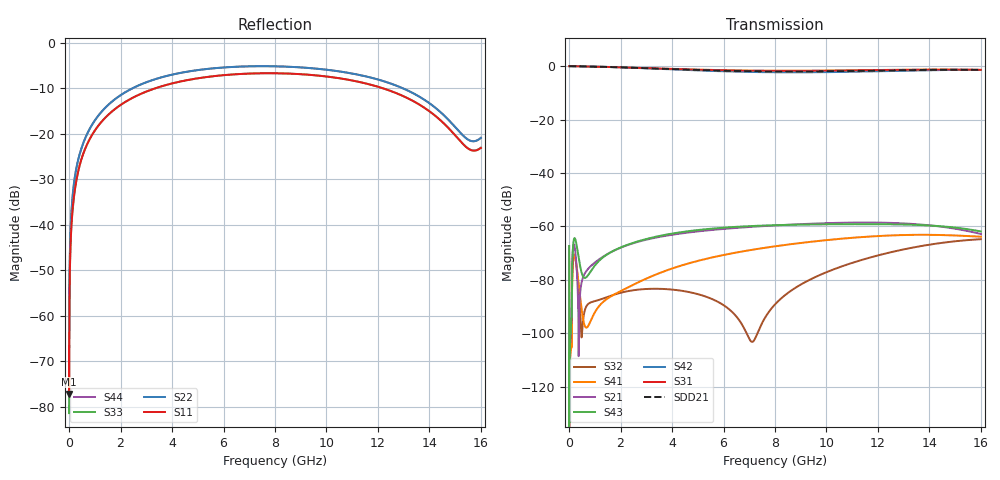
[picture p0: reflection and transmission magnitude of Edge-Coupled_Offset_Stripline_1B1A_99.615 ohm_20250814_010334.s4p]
! Touchstone file exported from HFSS 2025.1.0
!  File:  E:/00_Asenjo/00_Project/Ketupa/simulation/Ansys_HFSS_from_si9000/HFSS_Projects/Edge-Coupled_Offset_Stripline_1B1A_99.615 ohm_20250814_010334.aedt
!  Generated:  01:05:41 AM Aug 14, 2025
!  Design:  Edge-Coupled_Offset_Stripline_1B1A_(1)
!  Project:  Edge-Coupled_Offset_Stripline_1B1A_99.615 ohm_20250814_010334
!  Setup:  Setup1
!  Solution:  Sweep
! Variables:
!  $Er1 = 3.6
!  $Er2 = 3.6
!  H1 = 200um
!  H2 = 200um
!  S1 = 190um
!  T1 = 15um
!  W1 = 160um
!  W2 = 150um
!  subH = 0.4mm
!  subX = 5mm
!  subY = 5mm
# GHz S MA R 50.000000
! Terminal data exported
! Port[1] = Comm1
! Port[2] = Diff1
! Port[3] = Comm2
! Port[4] = Diff2
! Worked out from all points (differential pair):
!   1751 points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, 1 Hz to 16 GHz, reference 50 ohm
!   strongest paths, dB at 1 Hz, 2.87 GHz, 7.25 GHz, 11.63 GHz, 16 GHz:
!     S31: 0.0, -0.7, -1.7, -1.5, -1.4
!     S42: 0.0, -0.8, -2.2, -2.0, -1.4
!     S43: -67.3, -65.1, -59.8, -59.2, -61.9
!     S21: -67.4, -65.3, -60.1, -58.5, -62.9
!     S41: -72.0, -80.1, -68.5, -63.8, -63.9
!     S32: -72.0, -83.5, -101.5, -71.8, -64.8
!   taken as a pair (ports 1,2 in; 3,4 out), SDD21 dB: 0.0, -0.7, -1.9, -1.7, -1.4
!   lowest |S11| = -77.1 dB at 1.413 MHz (marker M1), VSWR 1.00, Z = 50 - j0.0125 ohm
!   |S11| at or under -10 dB: start of sweep to 3.353 GHz; 12.19 GHz to end of sweep
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1e-09  0.0004672 -0.0  0.0004287 -180.0  0.9998 -0.0  0.0002505 0.0
       0.000429 -180.0  0.001048 0.0  0.0002511 -180.0  0.9993 -0.0
       0.9998 -0.0  0.0002514 -180.0  0.000102 -180.0  0.0004301 0.0
       0.0002508 0.0  0.9993 -0.0  0.0004299 0.0  0.0004405 0.0
0.001412538  0.0001392 -64.0  0.0001691 -4.6  0.9998 -0.0  9.82e-05 174.8
             0.0001692 -4.6  0.0006767 22.1  9.866e-05 -5.0  0.9992 -0.0
             0.9998 -0.0  9.88e-05 -5.1  0.0003256 -29.3  0.0001697 175.5
             9.835e-05 174.7  0.9992 -0.0  0.0001696 175.6  0.000905 16.3
0.06309573  0.006813 -95.4  1.178e-05 -81.4  0.9987 -0.8  4.824e-06 -132.4
            1.177e-05 -81.4  0.009885 82.6  4.852e-06 -132.8  0.9983 -0.9
            0.9987 -0.8  4.859e-06 -132.8  0.006813 -95.4  1.178e-05 -81.1
            4.821e-06 -132.4  0.9983 -0.9  1.177e-05 -81.1  0.009885 82.6
0.36  0.03939 -101.0  1.807e-05 69.4  0.9935 -4.7  9.329e-05 -104.7
      1.807e-05 69.4  0.05286 83.7  7.746e-05 80.9  0.9946 -5.1
      0.9935 -4.7  7.746e-05 80.9  0.03961 -101.4  0.0002807 -97.9
      9.329e-05 -104.7  0.9946 -5.1  0.0002807 -97.9  0.05272 84.1
2.38  0.241 -127.0  0.0004652 -129.4  0.9391 -30.0  7.59e-05 -111.2
      0.0004652 -129.4  0.3073 58.8  6.249e-05 -166.3  0.9362 -32.5
      0.9391 -30.0  6.249e-05 -166.3  0.241 -127.0  0.0004724 -114.8
      7.59e-05 -111.2  0.9362 -32.5  0.0004724 -114.8  0.3073 58.8
9.6  0.4379 160.2  0.001133 141.1  0.8251 -106.7  0.0005281 157.8
     0.001133 141.1  0.5195 -12.3  0.0001145 -123.1  0.7686 -108.0
     0.8251 -106.7  0.0001145 -123.1  0.4379 160.1  0.001088 -170.1
     0.0005281 157.8  0.7686 -108.0  0.001088 -170.1  0.5196 -12.2
16  0.06996 -168.1  0.0007191 54.0  0.8559 177.0  0.0006411 61.5
    0.0007191 54.0  0.09015 21.8  0.0005755 111.6  0.8486 176.3
    0.8559 177.0  0.0005755 111.6  0.07034 -168.4  0.0008046 144.1
    0.0006411 61.5  0.8486 176.3  0.0008046 144.1  0.09023 21.9
